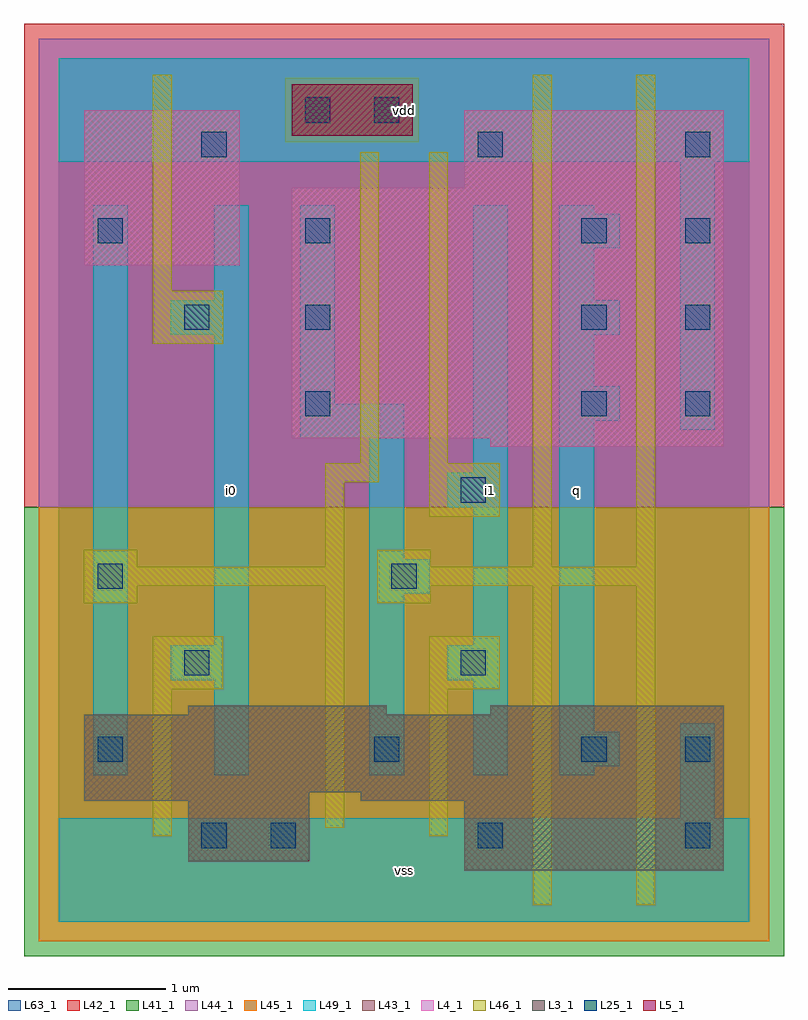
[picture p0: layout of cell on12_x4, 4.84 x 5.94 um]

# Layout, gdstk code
import gdstk
lib = gdstk.Library(unit=1e-6, precision=1e-09)
def R(c, l, rs):  # rectangles x0, y0, x1, y1
    for r in rs: c.add(gdstk.rectangle(r[:2], r[2:], *l))
def A(c, l, x, y, w, h, nx, ny, dx, dy):  # array of equal rectangles
    R(c, l, [(x+i*dx, y+j*dy, x+i*dx+w, y+j*dy+h) for i in range(nx) for j in range(ny)])
L3_1 = (3, 1)
L4_1 = (4, 1)
L5_1 = (5, 1)
L25_1 = (25, 1)
L41_1 = (41, 1)
L42_1 = (42, 1)
L43_1 = (43, 1)
L44_1 = (44, 1)
L45_1 = (45, 1)
L46_1 = (46, 1)
L49_1 = (49, 1)
L63_1 = (63, 1)

on12_x4 = lib.new_cell('on12_x4')
R(on12_x4, L3_1, [(2.585,0.33,4.235,0.77), (0.825,0.385,1.595,0.77), (0.165,0.77,1.595,0.825), (1.925,0.77,4.235,0.825), (0.165,0.825,4.235,1.32), (0.825,1.32,2.09,1.375), (2.75,1.32,4.235,1.375)])
R(on12_x4, L4_1, [(2.75,3.025,4.235,3.08), (1.485,3.08,4.235,4.675), (0.165,4.18,1.155,5.17), (2.585,4.675,4.235,5.17)])
R(on12_x4, L5_1, [(1.485,5.005,2.255,5.335)])
A(on12_x4, L25_1, 1.35, 0.47, 0.16, 0.16, 3, 1, 1.32, 0)
A(on12_x4, L25_1, 1.57, 3.22, 0.16, 0.16, 1, 3, 0, 0.55)
A(on12_x4, L25_1, 3.33, 3.22, 0.16, 0.16, 1, 3, 0, 0.55)
A(on12_x4, L25_1, 3.99, 3.22, 0.16, 0.16, 1, 4, 0, 0.55)
R(on12_x4, L25_1, [(0.91,0.47,1.07,0.63), (0.25,1.02,0.41,1.18), (2.01,1.02,2.17,1.18), (3.33,1.02,3.49,1.18), (3.99,1.02,4.15,1.18), (0.8,1.57,0.96,1.73), (2.56,1.57,2.72,1.73), (0.25,2.12,0.41,2.28), (2.12,2.12,2.28,2.28), (2.56,2.67,2.72,2.83), (0.8,3.77,0.96,3.93), (0.25,4.32,0.41,4.48), (0.91,4.87,1.07,5.03), (2.67,4.87,2.83,5.03), (1.57,5.09,1.73,5.25), (2.01,5.09,2.17,5.25)])
R(on12_x4, L41_1, [(-0.22,-0.22,4.62,2.64)])
R(on12_x4, L42_1, [(-0.22,2.64,4.62,5.72)])
R(on12_x4, L43_1, [(2.585,0.33,4.235,0.77), (0.825,0.385,1.595,0.77), (0.165,0.77,1.595,0.825), (1.925,0.77,4.235,0.825), (0.165,0.825,4.235,1.32), (0.825,1.32,2.09,1.375), (2.75,1.32,4.235,1.375), (2.75,3.025,4.235,3.08), (1.485,3.08,4.235,4.675), (0.165,4.18,1.155,5.17), (2.585,4.675,4.235,5.17), (1.485,5.005,2.255,5.335)])
R(on12_x4, L44_1, [(-0.125,2.64,4.525,4.965), (-0.125,4.965,1.445,5.375), (2.295,4.965,4.525,5.375), (-0.125,5.375,4.525,5.625)])
R(on12_x4, L45_1, [(-0.125,-0.125,4.525,2.64), (1.445,4.965,2.295,5.375)])
R(on12_x4, L46_1, [(3.02,0.105,3.14,2.14), (3.68,0.105,3.8,2.14), (0.6,0.545,0.72,1.48), (2.36,0.545,2.48,1.48), (1.7,0.6,1.82,2.14), (0.6,1.48,1.05,1.82), (2.36,1.48,2.81,1.82), (0.16,2.03,0.5,2.14), (2.03,2.03,2.37,2.14), (0.16,2.14,1.82,2.26), (2.03,2.14,3.8,2.26), (0.16,2.26,0.5,2.37), (1.7,2.26,1.82,2.8), (2.03,2.26,2.37,2.37), (3.02,2.26,3.14,5.395), (3.68,2.26,3.8,5.395), (2.36,2.58,2.81,2.92), (1.7,2.8,2.04,2.92), (1.92,2.92,2.04,4.9), (2.36,2.92,2.48,4.9), (0.6,3.68,1.05,4.02), (0.6,4.02,0.72,5.395)])
A(on12_x4, L49_1, 3.19, 3.19, 0.385, 0.22, 1, 3, 0, 0.55)
R(on12_x4, L49_1, [(0,0,4.4,0.66), (3.96,0.66,4.18,1.265), (0.22,0.935,0.44,4.565), (0.99,0.935,1.21,1.54), (1.98,0.935,2.2,2.09), (2.64,0.935,2.86,1.54), (3.19,0.935,3.41,0.99), (3.19,0.99,3.575,1.21), (3.19,1.21,3.41,3.19), (0.715,1.54,1.21,1.76), (2.475,1.54,2.86,1.76), (0.99,1.76,1.21,3.74), (2.64,1.76,2.86,2.64), (1.98,2.09,2.365,2.31), (1.98,2.31,2.2,3.08), (2.475,2.64,2.86,2.86), (2.64,2.86,2.86,4.565), (1.54,3.08,2.2,3.3), (3.96,3.135,4.18,4.84), (1.54,3.3,1.76,4.565), (3.19,3.41,3.41,3.74), (0.715,3.74,1.21,3.96), (0.99,3.96,1.21,4.565), (3.19,3.96,3.41,4.29), (3.19,4.51,3.41,4.565), (0,4.84,4.4,5.5)])
R(on12_x4, L63_1, [(0,0,4.4,5.5)])
on12_x4.add(gdstk.Label('i0', (1.1,2.75), layer=49, texttype=1))
on12_x4.add(gdstk.Label('vss', (2.2,0.33), layer=49, texttype=1))
on12_x4.add(gdstk.Label('i1', (2.75,2.75), layer=49, texttype=1))
on12_x4.add(gdstk.Label('vdd', (2.2,5.17), layer=49, texttype=1))
on12_x4.add(gdstk.Label('q', (3.3,2.75), layer=49, texttype=1))

lib.write_gds('on12_x4.gds')
